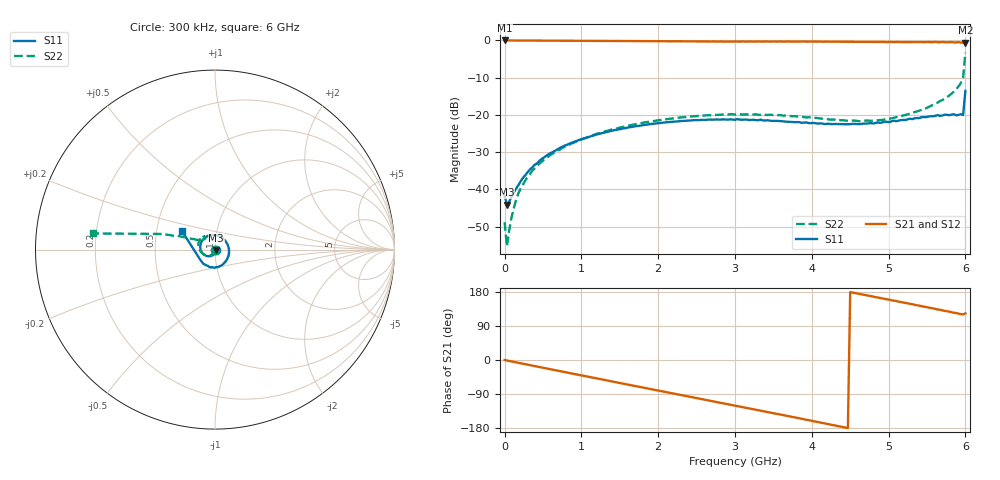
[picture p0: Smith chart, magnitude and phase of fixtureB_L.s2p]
# Hz S RI R 50
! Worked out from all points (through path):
!   201 points, 300 kHz to 6 GHz, reference 50 ohm
!   highest |S21| = 0.00 dB at 300 kHz (marker M1); lowest = -0.6 dB at 6 GHz (marker M2)
!   group delay of S21, straight-line fit = 111 ps
!   lowest |S11| = -44.1 dB at 30.3 MHz (marker M3), VSWR 1.01, Z = 50.6 - j0.214 ohm
!   |S11| at or under -10 dB: start of sweep to end of sweep
!   |S22| runs from -55.2 to -3.3 dB; largest |S21 - S12| = 5e-16
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300000  0.00814 -0.00164  0.9997 -0.00145  0.9997 -0.00145  0.00226 -0.00284
3.02985e7  0.00588 -0.00211  0.9991 -0.0224  0.9991 -0.0224  0.000279 -0.00171
9.02955e7  0.00597 -0.00534  0.9965 -0.0659  0.9965 -0.0659  -9.38e-05 -0.00422
1.502925e8  0.005 -0.00899  0.9918 -0.1083  0.9918 -0.1083  -0.00106 -0.00722
2.102895e8  0.00405 -0.0122  0.9855 -0.1508  0.9855 -0.1508  -0.00169 -0.0101
3.00285e8  0.00192 -0.0169  0.9729 -0.2132  0.9729 -0.2132  -0.00358 -0.0143
4.502775e8  -0.00292 -0.0237  0.9427 -0.3145  0.9427 -0.3145  -0.00805 -0.0205
6.0027e8  -0.00942 -0.0292  0.9033 -0.4121  0.9033 -0.4121  -0.0136 -0.0258
1.020249e9  -0.0303 -0.0371  0.7402 -0.6528  0.7402 -0.6528  -0.0348 -0.0325
1.500225e9  -0.0561 -0.0314  0.4817 -0.8582  0.4817 -0.8582  -0.0624 -0.026
2.0102e9  -0.0774 -0.00863  0.1504 -0.9652  0.1504 -0.9652  -0.0848 -0.00334
2.490176e9  -0.0815 0.0243  -0.172 -0.9557  -0.172 -0.9557  -0.0929 0.0252
3.00015e9  -0.063 0.0585  -0.4891 -0.8382  -0.4891 -0.8382  -0.0868 0.0512
3.60012e9  -0.0136 0.081  -0.7887 -0.5646  -0.7887 -0.5646  -0.0694 0.0708
4.020099e9  0.0286 0.0728  -0.915 -0.3069  -0.915 -0.3069  -0.0571 0.0708
4.500075e9  0.0669 0.0342  -0.959 0.0124  -0.959 0.0124  -0.054 0.0643
5.01005e9  0.0747 -0.0291  -0.8915 0.3405  -0.8915 0.3405  -0.0695 0.0555
5.490026e9  0.0378 -0.0854  -0.7269 0.6142  -0.7269 0.6142  -0.1096 0.0564
5.760012e9  -0.00911 -0.1  -0.5906 0.7362  -0.5906 0.7362  -0.1602 0.0658
5.880006e9  -0.0401 -0.0905  -0.5269 0.7795  -0.5269 0.7795  -0.2088 0.0765
5.970002e9  -0.0834 -0.0547  -0.4728 0.8026  -0.4728 0.8026  -0.3039 0.0872
6e9  -0.1835 0.1026  -0.5069 0.7814  -0.5069 0.7814  -0.6779 0.09
